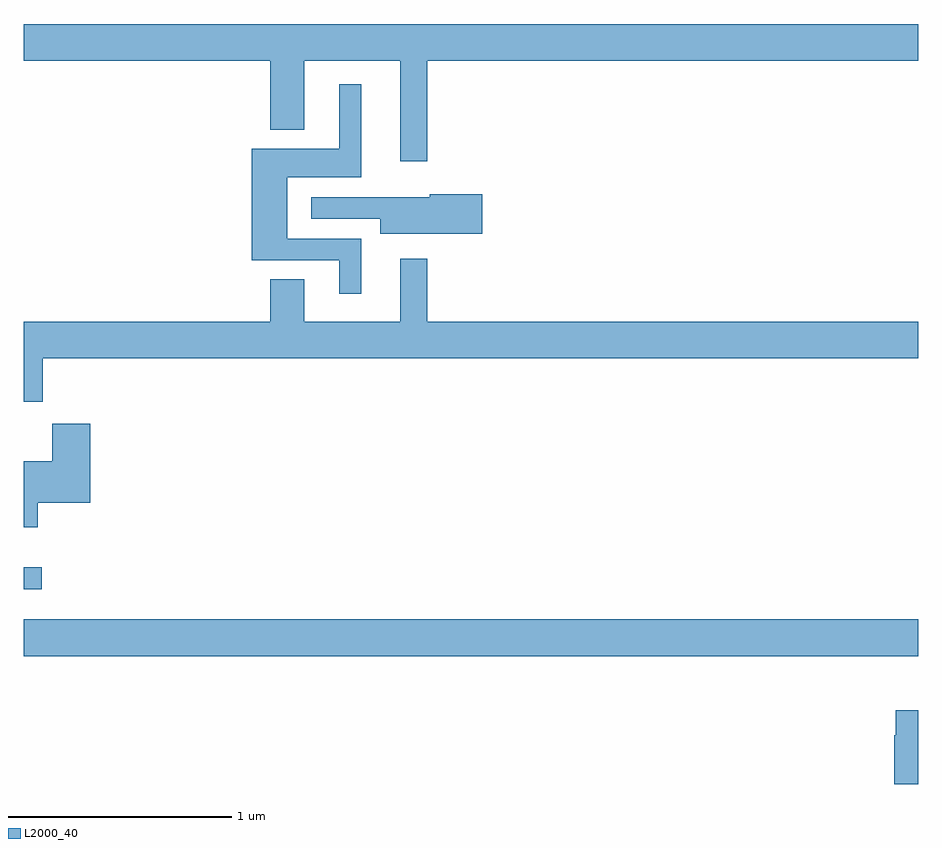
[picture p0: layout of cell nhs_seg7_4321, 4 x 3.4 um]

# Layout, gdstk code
import gdstk
lib = gdstk.Library(unit=1e-6, precision=1e-09)
def R(c, l, rs):  # rectangles x0, y0, x1, y1
    for r in rs: c.add(gdstk.rectangle(r[:2], r[2:], *l))
def P(c, l, *ps):  # polygons
    for p in ps: c.add(gdstk.Polygon(p, *l))
L2000_40 = (2000, 40)

nhs_seg7_4321 = lib.new_cell('nhs_seg7_4321')
R(nhs_seg7_4321, L2000_40, [(383,1044.572,387,1044.736), (383,1044.872,383.08,1044.969)])
P(nhs_seg7_4321, L2000_40, [(384.805,1047.236),(387,1047.236),(387,1047.4),(383,1047.4),(383,1047.236),(384.101,1047.236),(384.101,1046.927),(384.253,1046.927),(384.253,1047.236),(384.683,1047.236),(384.683,1046.787),(384.805,1046.787)],
  [(384.508,1046.439),(384.178,1046.439),(384.178,1046.714),(384.508,1046.714),(384.508,1047.13),(384.41,1047.13),(384.41,1046.842),(384.02,1046.842),(384.02,1046.343),(384.41,1046.343),(384.41,1046.193),(384.508,1046.193)],
  [(385.051,1046.639),(384.816,1046.639),(384.816,1046.626),(384.597,1046.626),(384.597,1046.625),(384.285,1046.625),(384.285,1046.529),(384.593,1046.529),(384.593,1046.461),(385.051,1046.461)],
  [(383.084,1045.904),(387,1045.904),(387,1046.068),(384.805,1046.068),(384.805,1046.35),(384.683,1046.35),(384.683,1046.068),(384.253,1046.068),(384.253,1046.258),(384.101,1046.258),(384.101,1046.068),(383,1046.068),(383,1045.71),(383.084,1045.71)],
  [(383.062,1045.259),(383.297,1045.259),(383.297,1045.612),(383.126,1045.612),(383.126,1045.444),(383,1045.444),(383,1045.148),(383.062,1045.148)],
  [(387,1044.331),(386.901,1044.331),(386.901,1044.218),(386.893,1044.218),(386.893,1044),(387,1044)])

lib.write_gds('nhs_seg7_4321.gds')
